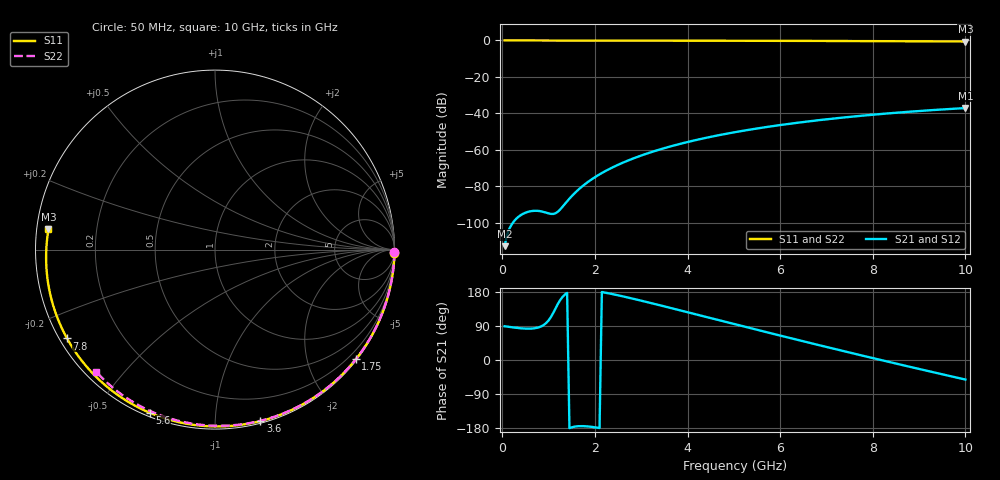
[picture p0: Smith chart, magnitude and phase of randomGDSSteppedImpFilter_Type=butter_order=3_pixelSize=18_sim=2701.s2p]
! freq	dB(S11)	phase(S11)	dB(S12)	phase(S12)
!  dB(S21)	phase(S21)	dB(S22)	phase(S22)
!S-par simulation data
#  GHz  S  DB  R 50
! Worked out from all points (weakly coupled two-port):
!   200 points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, 50 MHz to 10 GHz, reference 50 ohm
!   highest |S21| = -37.06 dB at 10 GHz (marker M1); lowest = -112.7 dB at 50 MHz (marker M2)
!   lowest |S11| = -0.6 dB at 10 GHz (marker M3), VSWR 29.59, Z = 1.7 + j3.04 ohm
!   |S11| at or under -10 dB: nowhere
!   |S22| runs from -0.5 to 0.0 dB; largest |S21 - S12| = 0
!   S11 on the Smith chart (normalised r, x): 50 MHz: open; 1.75 GHz: 0.03, -2.91; 3.6 GHz: 0.02, -1.30; 5.6 GHz: 0.02, -0.68; 7.8 GHz: 0.02, -0.28; 10 GHz: 0.03, +0.06
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0.05  -0.00 -1.1  -112.74 89.1  -112.74 89.1  -0.00 -0.8
0.45  -0.01 -9.9  -94.98 83.2  -94.98 83.2  -0.01 -7.0
0.85  -0.02 -18.7  -93.71 89.3  -93.71 89.3  -0.02 -13.1
1.25  -0.03 -27.3  -92.63 158.2  -92.63 158.2  -0.02 -19.1
1.7  -0.05 -36.8  -80.51 -174.5  -80.51 -174.5  -0.03 -25.9
1.75  -0.05 -37.9  -79.46 -174.6  -79.46 -174.6  -0.03 -26.7
2.05  -0.06 -44.2  -74.15 -178.5  -74.15 -178.5  -0.04 -31.1
2.25  -0.06 -48.3  -71.25 177.1  -71.25 177.1  -0.04 -34.1
2.45  -0.07 -52.4  -68.73 172.1  -68.73 172.1  -0.05 -37.0
2.9  -0.08 -61.5  -63.97 159.5  -63.97 159.5  -0.06 -43.6
3.4  -0.09 -71.3  -59.75 144.5  -59.75 144.5  -0.07 -50.7
3.6  -0.10 -75.2  -58.29 138.4  -58.29 138.4  -0.07 -53.6
4.3  -0.12 -88.4  -53.90 116.8  -53.90 116.8  -0.09 -63.3
5.05  -0.16 -102.0  -50.15 93.6  -50.15 93.6  -0.11 -73.4
5.6  -0.18 -111.7  -47.85 76.7  -47.85 76.7  -0.13 -80.7
6.15  -0.22 -121.2  -45.84 59.9  -45.84 59.9  -0.16 -87.8
6.7  -0.25 -130.5  -44.08 43.3  -44.08 43.3  -0.18 -94.7
7.25  -0.29 -139.8  -42.53 27.0  -42.53 27.0  -0.21 -101.5
7.8  -0.34 -149.0  -41.15 10.8  -41.15 10.8  -0.25 -108.2
8.35  -0.39 -158.2  -39.93 -5.1  -39.93 -5.1  -0.29 -114.7
9.2  -0.49 -172.8  -38.31 -29.3  -38.31 -29.3  -0.37 -124.8
10  -0.59 173.0  -37.06 -51.6  -37.06 -51.6  -0.45 -134.2
